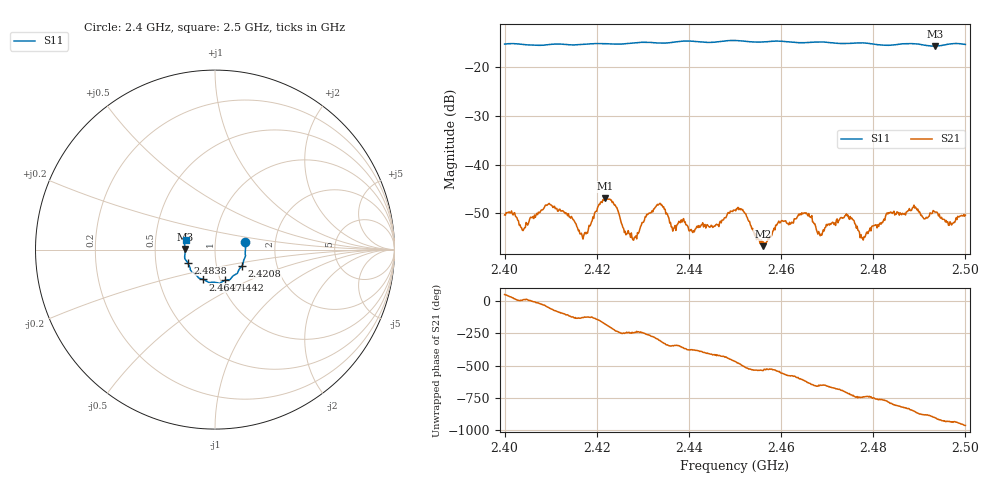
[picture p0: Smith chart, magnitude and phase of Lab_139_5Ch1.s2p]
# Hz S RI R 50
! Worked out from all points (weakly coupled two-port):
!   601 points, 2.4 GHz to 2.5 GHz, reference 50 ohm
!   highest |S21| = -46.93 dB at 2.4218 GHz (marker M1); lowest = -56.8 dB at 2.456 GHz (marker M2)
!   lowest |S11| = -15.6 dB at 2.4935 GHz (marker M3), VSWR 1.40, Z = 35.8 + j0.178 ohm
!   |S11| at or under -10 dB: start of sweep to end of sweep
!   S12 and S22 are empty: the file has one direction only
!   S11 on the Smith chart (normalised r, x): 2.4 GHz: 1.40, +0.12; 2.4208 GHz: 1.33, -0.24; 2.4442 GHz: 1.05, -0.37; 2.4647 GHz: 0.83, -0.29; 2.4838 GHz: 0.73, -0.11; 2.5 GHz: 0.71, +0.08
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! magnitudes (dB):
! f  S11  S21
! 2.4 GHz  -15.2  -50.3
! 2.404 GHz  -15.3  -53.6
! 2.4098 GHz  -15.3  -48.2
! 2.4167 GHz  -15.3  -54.1
! 2.4208 GHz  -15.1  -47.7
! 2.4218 GHz  -15.1  -46.9
! 2.4282 GHz  -15.0  -54.9
! 2.4333 GHz  -15.0  -48.3
! 2.4367 GHz  -14.8  -53.1
! 2.4442 GHz  -14.9  -52.6
! 2.45 GHz  -14.5  -49.4
! 2.456 GHz  -14.8  -56.8
! 2.4647 GHz  -14.9  -50.1
! 2.4667 GHz  -14.8  -50.5
! 2.4685 GHz  -14.8  -54.6
! 2.4745 GHz  -15.1  -50.4
! 2.4777 GHz  -15.0  -55.1
! 2.4833 GHz  -15.5  -49.9
! 2.4838 GHz  -15.4  -49.7
! 2.4935 GHz  -15.6  -49.7
! 2.4968 GHz  -15.2  -52.0
! 2.5 GHz  -15.3  -50.4
